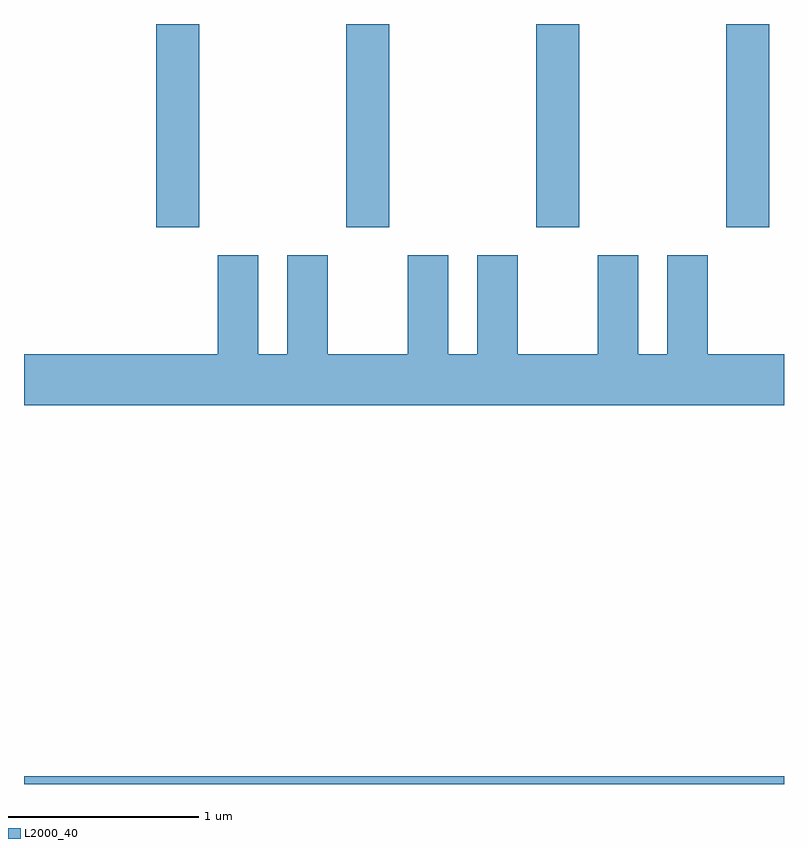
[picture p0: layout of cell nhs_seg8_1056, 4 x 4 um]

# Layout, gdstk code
import gdstk
lib = gdstk.Library(unit=1e-6, precision=1e-09)
def R(c, l, rs):  # rectangles x0, y0, x1, y1
    for r in rs: c.add(gdstk.rectangle(r[:2], r[2:], *l))
def A(c, l, x, y, w, h, nx, ny, dx, dy):  # array of equal rectangles
    R(c, l, [(x+i*dx, y+j*dy, x+i*dx+w, y+j*dy+h) for i in range(nx) for j in range(ny)])
def P(c, l, *ps):  # polygons
    for p in ps: c.add(gdstk.Polygon(p, *l))
L2000_40 = (2000, 40)

nhs_seg8_1056 = lib.new_cell('nhs_seg8_1056')
A(nhs_seg8_1056, L2000_40, 216.306, 1917.271, 0.228, 1.071, 4, 1, 1, 0)
R(nhs_seg8_1056, L2000_40, [(215.611,1914.342,219.611,1914.384)])
P(nhs_seg8_1056, L2000_40, [(219.611,1916.604),(219.209,1916.604),(219.209,1917.124),(218.996,1917.124),(218.996,1916.604),(218.844,1916.604),(218.844,1917.124),(218.631,1917.124),(218.631,1916.604),(218.209,1916.604),(218.209,1917.124),(217.996,1917.124),(217.996,1916.604),(217.844,1916.604),(217.844,1917.124),(217.631,1917.124),(217.631,1916.604),(217.209,1916.604),(217.209,1917.124),(216.996,1917.124),(216.996,1916.604),(216.844,1916.604),(216.844,1917.124),(216.631,1917.124),(216.631,1916.604),(215.611,1916.604),(215.611,1916.336),(219.611,1916.336)])

lib.write_gds('nhs_seg8_1056.gds')
